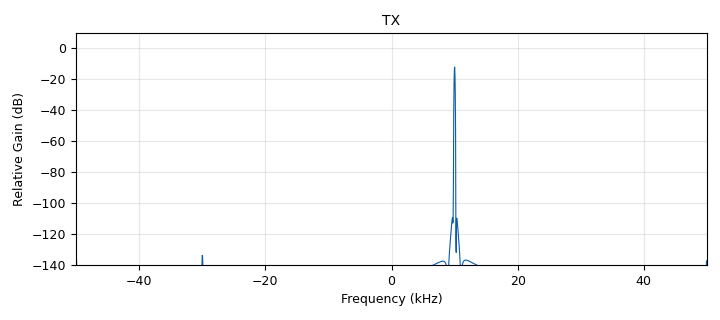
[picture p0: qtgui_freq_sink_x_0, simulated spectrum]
options:
  parameters:
    generate_options: qt_gui
    id: sine_test
    output_language: python
    title: Sine test
  states: {}

blocks:
- name: freq_range
  id: variable_qtgui_range
  parameters:
    label: Freq
    orient: Qt.Horizontal
    rangeType: int
    start: '-60000'
    step: '500'
    stop: '60000'
    value: '10000'
  states: {}
- name: hostname
  id: variable
  parameters:
    value: '"10.42.0.100"'
  states: {}
- name: samp_rate
  id: variable
  parameters:
    value: 100e3
  states: {}
- name: soapy_dev
  id: variable
  parameters:
    value: '"driver=totem" + (f",hostname={hostname}" if hostname else "")'
  states: {}
- name: analog_sig_source_x_0
  id: analog_sig_source_x
  parameters:
    amp: '0.7'
    freq: freq_range
    offset: '0'
    phase: '0'
    samp_rate: samp_rate
    type: complex
    waveform: analog.GR_COS_WAVE
  states: {}
- name: qtgui_freq_sink_x_0
  id: qtgui_freq_sink_x
  parameters:
    bw: samp_rate
    fc: '0'
    fftsize: '2048'
    grid: 'True'
    name: '"TX"'
    type: complex
    wintype: firdes.WIN_BLACKMAN_hARRIS
  states: {}
- name: soapy_sink_0
  id: soapy_sink
  parameters:
    ant0: A
    bw0: 200e3
    center_freq0: 408.0e6
    dev: soapy_dev
    devname: custom
    manual_gain0: 'False'
    overall_gain0: '76'
    samp_rate: samp_rate
    type: fc32
  states: {}

connections:
- [analog_sig_source_x_0, '0', qtgui_freq_sink_x_0, '0']
- [analog_sig_source_x_0, '0', soapy_sink_0, '0']

metadata:
  file_format: 1
